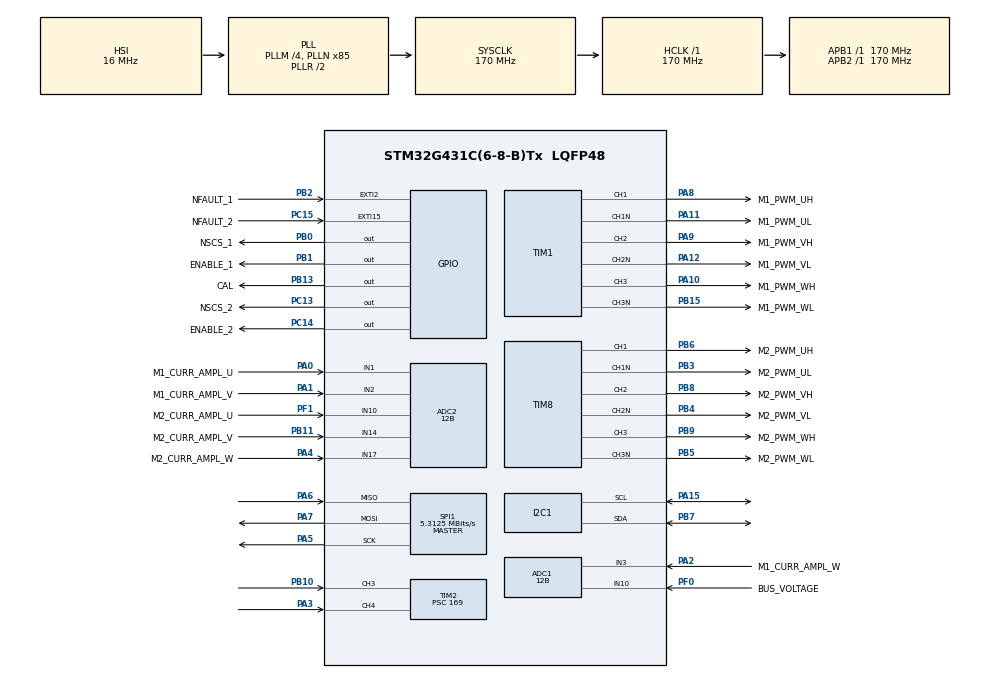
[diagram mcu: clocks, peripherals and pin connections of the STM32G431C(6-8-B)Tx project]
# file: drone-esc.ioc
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ADC1.Channel-1\#ChannelRegularConversion=ADC_CHANNEL_10
ADC1.ClockPrescaler=ADC_CLOCK_ASYNC_DIV1
ADC1.ContinuousConvMode=DISABLE
ADC1.DMAContinuousRequests=DISABLE
ADC1.DataAlign=ADC_DATAALIGN_LEFT
ADC1.DiscontinuousConvMode=DISABLE
ADC1.EOCSelection=ADC_EOC_SINGLE_CONV
ADC1.EnableAnalogWatchDog1=false
ADC1.EnableAnalogWatchDog2=false
ADC1.EnableAnalogWatchDog3=false
ADC1.EnableInjectedConversion=ENABLE
ADC1.EnableRegularConversion=ENABLE
ADC1.ExternalTrigConv=ADC_SOFTWARE_START
ADC1.ExternalTrigConvEdge=ADC_EXTERNALTRIGCONVEDGE_NONE
ADC1.ExternalTrigInjecConv=ADC_EXTERNALTRIGINJEC_T1_TRGO
ADC1.ExternalTrigInjecConvEdge=ADC_EXTERNALTRIGINJECCONV_EDGE_RISING
ADC1.InjNumberOfConversion=2
ADC1.InjectedChannel-1\#ChannelInjectedConversion=ADC_CHANNEL_2
ADC1.InjectedChannel-2\#ChannelInjectedConversion=ADC_CHANNEL_3
ADC1.InjectedConvMode=None
ADC1.InjectedOffset-1\#ChannelInjectedConversion=0
ADC1.InjectedOffset-2\#ChannelInjectedConversion=0
ADC1.InjectedOffsetNumber-1\#ChannelInjectedConversion=ADC_OFFSET_NONE
ADC1.InjectedOffsetNumber-2\#ChannelInjectedConversion=ADC_OFFSET_NONE
ADC1.InjectedRank-1\#ChannelInjectedConversion=1
ADC1.InjectedRank-2\#ChannelInjectedConversion=2
ADC1.InjectedSamplingTime-1\#ChannelInjectedConversion=ADC_SAMPLETIME_6CYCLES_5
ADC1.InjectedSamplingTime-2\#ChannelInjectedConversion=ADC_SAMPLETIME_6CYCLES_5
ADC1.LowPowerAutoWait=DISABLE
ADC1.NbrOfConversion=1
ADC1.NbrOfConversionFlag=1
ADC1.Offset-1\#ChannelRegularConversion=0
ADC1.OffsetNumber-1\#ChannelRegularConversion=ADC_OFFSET_NONE
ADC1.Overrun=ADC_OVR_DATA_PRESERVED
ADC1.Rank-1\#ChannelRegularConversion=1
ADC1.Resolution=ADC_RESOLUTION_12B
ADC1.SamplingTime-1\#ChannelRegularConversion=ADC_SAMPLETIME_47CYCLES_5
ADC1.ScanConvMode=ADC_SCAN_ENABLE
ADC1.master=1
ADC2.ClockPrescaler=ADC_CLOCK_ASYNC_DIV1
ADC2.ContinuousConvMode=DISABLE
ADC2.DMAContinuousRequests=DISABLE
ADC2.DataAlign=ADC_DATAALIGN_LEFT
ADC2.DiscontinuousConvMode=DISABLE
ADC2.EOCSelection=ADC_EOC_SINGLE_CONV
ADC2.EnableAnalogWatchDog1=false
ADC2.EnableAnalogWatchDog2=false
ADC2.EnableAnalogWatchDog3=false
ADC2.EnableInjectedConversion=ENABLE
ADC2.EnableRegularConversion=DISABLE
ADC2.ExternalTrigInjecConv=ADC_EXTERNALTRIGINJEC_T8_TRGO
ADC2.ExternalTrigInjecConvEdge=ADC_EXTERNALTRIGINJECCONV_EDGE_RISING
ADC2.InjNumberOfConversion=3
ADC2.InjectedChannel-1\#ChannelInjectedConversion=ADC_CHANNEL_10
ADC2.InjectedChannel-2\#ChannelInjectedConversion=ADC_CHANNEL_14
ADC2.InjectedChannel-3\#ChannelInjectedConversion=ADC_CHANNEL_17
ADC2.InjectedConvMode=None
ADC2.InjectedOffset-1\#ChannelInjectedConversion=0
ADC2.InjectedOffset-2\#ChannelInjectedConversion=0
ADC2.InjectedOffset-3\#ChannelInjectedConversion=0
ADC2.InjectedOffsetNumber-1\#ChannelInjectedConversion=ADC_OFFSET_NONE
ADC2.InjectedOffsetNumber-2\#ChannelInjectedConversion=ADC_OFFSET_NONE
ADC2.InjectedOffsetNumber-3\#ChannelInjectedConversion=ADC_OFFSET_NONE
ADC2.InjectedRank-1\#ChannelInjectedConversion=1
ADC2.InjectedRank-2\#ChannelInjectedConversion=2
ADC2.InjectedRank-3\#ChannelInjectedConversion=3
ADC2.InjectedSamplingTime-1\#ChannelInjectedConversion=ADC_SAMPLETIME_6CYCLES_5
ADC2.InjectedSamplingTime-2\#ChannelInjectedConversion=ADC_SAMPLETIME_6CYCLES_5
ADC2.InjectedSamplingTime-3\#ChannelInjectedConversion=ADC_SAMPLETIME_6CYCLES_5
ADC2.LowPowerAutoWait=DISABLE
ADC2.Overrun=ADC_OVR_DATA_PRESERVED
ADC2.Resolution=ADC_RESOLUTION_12B
ADC2.ScanConvMode=ADC_SCAN_ENABLE
ADC2.master=1
ExtraMW=MotorControl
ExtraMW.MotorControl.Config=MotorControl
ExtraMW.MotorControl.Mode=MotorControl
ExtraMW.MotorControl.Root=MCSDK_v6.4.2-Full/MotorControl
ExtraMW.MotorControl.Template=templates
I2C1.Timing=0x40B285C2
Mcu.Family=STM32G4
Mcu.Name=STM32G431C(6-8-B)Tx
Mcu.Package=LQFP48
Mcu.UserConstants=M1_BUS_VOLTAGE_GPIO_Port,BUS_VOLTAGE_GPIO_Port;M1_BUS_VOLTAGE_Pin,BUS_VOLTAGE_Pin;M2_BUS_VOLTAGE_GPIO_Port,BUS_VOLTAGE_GPIO_Port;M2_BUS_VOLTAGE_Pin,BUS_VOLTAGE_Pin
MotorControl.ADC_1_PERIPH=ADC2
MotorControl.ADC_2_PERIPH=ADC1
MotorControl.ADC_AHBPERIPH=RCC_AHBPeriph_ADC21
MotorControl.ADC_AHBPERIPH2=RCC_AHBPeriph_ADC2
MotorControl.ADC_CLOCK_WB_DIV=1
MotorControl.ADC_CLOCK_WB_DIV2=1
MotorControl.ADC_PERIPH=ADC2
MotorControl.ADC_PERIPH2=ADC2
MotorControl.ADC_REFERENCE_VOLTAGE=3.3
MotorControl.BOARD=drone-esc-1
MotorControl.BUS_VOLTAGE_READING=true
MotorControl.BUS_VOLTAGE_READING2=true
MotorControl.CCMRAM_ENABLED=false
MotorControl.CLOCK_FREQUENCY=CPU_CLK_170_MHZ
MotorControl.CLOCK_SOURCE=INTERNAL
MotorControl.CPU_CLK_170_MHZ=true
MotorControl.CTLBOARD_NAME=drone-esc-1
MotorControl.CUBE_MX_VER=6.18.1
MotorControl.CURRENT_READING_TOPOLOGY=THREE_SHUNT_INDEPENDENT_RESOURCES
MotorControl.CURRENT_READING_TOPOLOGY2=THREE_SHUNT
MotorControl.CURR_SAMPLING_TIME=6
MotorControl.CURR_SAMPLING_TIME2=6
MotorControl.DBG_MCU_LOAD_MEASURE=false
MotorControl.DEBUG_DAC_FUNCTIONALITY_EN=false
MotorControl.DRIVES_NUMBER_SELECTION=DUALDRIVE
MotorControl.DRIVE_NUMBER=2
MotorControl.DRIVE_TYPE=FOC
MotorControl.ENCODER_AVAILABLE=false
MotorControl.ENCODER_AVAILABLE2=false
MotorControl.ENCODER_PPR=400
MotorControl.ENCODER_PPR2=400
MotorControl.EXT_CLOCK_FREQUENCY=INT_RC_OSC
MotorControl.FEEDBACK_NET_FILTERING=false
MotorControl.FEEDBACK_NET_FILTERING2=false
MotorControl.FLASH_SIZE=128
MotorControl.HALL_SENSORS_AVAILABLE=false
MotorControl.HALL_SENSORS_AVAILABLE2=false
MotorControl.HIGH_SIDE_IDLE_STATE=false
MotorControl.HIGH_SIDE_IDLE_STATE2=false
MotorControl.HWV_CS=ThreeShunt_AmplifiedCurrents
MotorControl.HWV_CS2=ThreeShunt_AmplifiedCurrents
MotorControl.HWV_PWM=DrivingHighAndLowSides
MotorControl.HWV_PWM2=DrivingHighAndLowSides
MotorControl.HW_COMPLEMENTED_LOW_SIDE=false
MotorControl.HW_COMPLEMENTED_LOW_SIDE2=false
MotorControl.HW_DEAD_TIME_NS=200
MotorControl.HW_DEAD_TIME_NS2=200
MotorControl.INT_RC_OSC=true
MotorControl.IPs=CORDIC,NVIC,RCC,SYS,MotorControl,TIM1,ADC2,ADC1,TIM8
MotorControl.LOW_MEMORY_FOOTPRINT_REG=false
MotorControl.LOW_SIDE_IDLE_STATE=false
MotorControl.LOW_SIDE_IDLE_STATE2=false
MotorControl.LOW_SIDE_SIGNALS_ENABLING=LS_PWM_TIMER
MotorControl.LOW_SIDE_SIGNALS_ENABLING2=LS_PWM_TIMER
MotorControl.M1_AMPLIFICATION_GAIN=20
MotorControl.M1_ANGC={0,0,0,0,0,0,0,0}
MotorControl.M1_AUXILIARY_SPEED_SENSOR=NONE
MotorControl.M1_BOARD_MAX_CURRENT=20
MotorControl.M1_BUS_VOLTAGE_READING=true
MotorControl.M1_COMMUTATION_STEP_TIME_BUF_SIZE=12
MotorControl.M1_CONSTANT1_D=141290
MotorControl.M1_CONSTANT1_Q=141290
MotorControl.M1_CONSTANT2_QD=3974
MotorControl.M1_CORD_BEMF_CONSISTENCY_GAIN=64
MotorControl.M1_CORD_BEMF_CONSISTENCY_TOL=64
MotorControl.M1_CORD_F1=16384
MotorControl.M1_CORD_F2=8192
MotorControl.M1_CORD_FIFO_DEPTH_01HZ=64
MotorControl.M1_CORD_FIFO_DEPTH_DPP=64
MotorControl.M1_CORD_GAIN1=-22869
MotorControl.M1_CORD_GAIN2=17898
MotorControl.M1_CORD_MAX_ACCEL_DPPP=28
MotorControl.M1_CORD_VARIANCE_THRESHOLD=25
MotorControl.M1_CS_ADC_NUM=2
MotorControl.M1_CS_ADC_PHASE_SHARED=V
MotorControl.M1_CS_ADC_U=ADC2
MotorControl.M1_CS_ADC_W=ADC1
MotorControl.M1_CS_CHANNEL_SHARED=2
MotorControl.M1_CS_CHANNEL_U=1
MotorControl.M1_CS_CHANNEL_V=2
MotorControl.M1_CS_CHANNEL_W=3
MotorControl.M1_CURRENT_AMPLIFICATION_TOPO=EXTERNAL
MotorControl.M1_CURRENT_SENSING_TOPO=THREE_SHUNT
MotorControl.M1_CURR_SAMPLING_TIME=6
MotorControl.M1_DBG_OPEN_LOOP_ENABLE=false
MotorControl.M1_DC_CURRENT_RS_MEAS=20
MotorControl.M1_DEFAULT_CONTROL_MODE=STC_SPEED_MODE
MotorControl.M1_DEFAULT_FLUX_COMPONENT=0
MotorControl.M1_DEFAULT_TARGET_SPEED_RPM=5400
MotorControl.M1_DEFAULT_TORQUE_COMPONENT=0
MotorControl.M1_DISCONTINUOUS_PWM=false
MotorControl.M1_DP_TOPOLOGY=NONE
MotorControl.M1_DRIVE_TYPE=FOC
MotorControl.M1_ENABLE_SL_ALGO_FROM_PHASE=2
MotorControl.M1_ENCODER_PPR=400
MotorControl.M1_FEED_FORWARD_CURRENT_REG_ENABLING=false
MotorControl.M1_FLUX_WEAKENING_ENABLING=false
MotorControl.M1_FW_KIDIV=32768
MotorControl.M1_FW_KI_GAIN=5000
MotorControl.M1_FW_KPDIV=32768
MotorControl.M1_FW_KP_GAIN=3000
MotorControl.M1_FW_VOLTAGE_REF=985
MotorControl.M1_HALL_PHASE_SHIFT=300
MotorControl.M1_HALL_SENSORS_PLACEMENT=DEGREES_120
MotorControl.M1_HIGH_SIDE_IDLE_STATE=false
MotorControl.M1_HW_DEAD_TIME_NS=200
MotorControl.M1_ICL_ENABLED=false
MotorControl.M1_ID_DEMAG=-20
MotorControl.M1_IQMAX=20
MotorControl.M1_LDLQ_RATIO=1.000
MotorControl.M1_LOW_SIDE_IDLE_STATE=false
MotorControl.M1_LOW_SIDE_SIGNALS_ENABLING=LS_PWM_TIMER
MotorControl.M1_LS=0.000012
MotorControl.M1_MAX_APPLICATION_SPEED=40000
MotorControl.M1_MAX_MODULATION_INDEX=91
MotorControl.M1_MIN_APPLICATION_SPEED=0
MotorControl.M1_MOTOR_MAX_SPEED_RPM=40000
MotorControl.M1_MOTOR_NAME=FlyfishRC Flash 1804 350
MotorControl.M1_MOTOR_RATED_FLUX=0.001399708
MotorControl.M1_MOTOR_VOLTAGE_CONSTANT=0.2
MotorControl.M1_MTPA_ENABLING=false
MotorControl.M1_NB_CONSECUTIVE_TESTS=2
MotorControl.M1_NOMINAL_BUS_VOLTAGE_V=11
MotorControl.M1_NOMINAL_CURRENT=20
MotorControl.M1_OBS_MINIMUM_SPEED_RPM=5400
MotorControl.M1_OCP_TOPOLOGY=NONE
MotorControl.M1_OFST={0,0,0,0,0,0,0,0}
MotorControl.M1_ON_OVER_VOLTAGE=TURN_OFF_PWM
MotorControl.M1_OVERMODULATION=false
MotorControl.M1_OVP_THRESHOLD_HIGH=15.5
MotorControl.M1_OV_VOLTAGE_PROT_ENABLING=true
MotorControl.M1_OV_VOLTAGE_THRESHOLD_V=15.5
MotorControl.M1_PHASE1_DURATION=1000
MotorControl.M1_PHASE1_FINAL_CURRENT=20
MotorControl.M1_PHASE1_FINAL_SPEED_RPM=0
MotorControl.M1_PHASE2_DURATION=12000
MotorControl.M1_PHASE2_FINAL_CURRENT=20
MotorControl.M1_PHASE2_FINAL_SPEED_RPM=6000
MotorControl.M1_PHASE3_DURATION=0
MotorControl.M1_PHASE3_FINAL_CURRENT=20
MotorControl.M1_PHASE3_FINAL_SPEED_RPM=6000
MotorControl.M1_PHASE4_DURATION=0
MotorControl.M1_PHASE4_FINAL_CURRENT=20
MotorControl.M1_PHASE4_FINAL_SPEED_RPM=6000
MotorControl.M1_PHASE5_DURATION=0
MotorControl.M1_PHASE5_FINAL_CURRENT=20
MotorControl.M1_PHASE5_FINAL_SPEED_RPM=6000
MotorControl.M1_PID_FLUX_KD_DEFAULT=100
MotorControl.M1_PID_FLUX_KI_DEFAULT=2435
MotorControl.M1_PID_FLUX_KP_DEFAULT=2192
MotorControl.M1_PID_SPEED_KD_DEFAULT=0
MotorControl.M1_PID_SPEED_KI_DEFAULT=18
MotorControl.M1_PID_SPEED_KP_DEFAULT=2294
MotorControl.M1_PID_TORQUE_KD_DEFAULT=100
MotorControl.M1_PID_TORQUE_KI_DEFAULT=2435
MotorControl.M1_PID_TORQUE_KP_DEFAULT=2192
MotorControl.M1_POLE_PAIR_NUM=7
MotorControl.M1_POSITION_CTRL_ENABLING=false
MotorControl.M1_POTENTIOMETER_ENABLE=false
MotorControl.M1_POWERBOARD_NAME=drone-esc-1
MotorControl.M1_PWM_CHARGE_BOOT_CAP_DUTY_CYCLES=0.000
MotorControl.M1_PWM_CHARGE_BOOT_CAP_MS=10
MotorControl.M1_PWM_DRIVER_PN=DRV8323SRTAR
MotorControl.M1_PWM_FREQUENCY=30000
MotorControl.M1_PWM_TIMER_BRK_IRQ=TIM1_BRK_TIM15
MotorControl.M1_PWM_TIMER_SELECTION=PWM_TIM1
MotorControl.M1_PWM_TIMER_UP_IRQ=TIM1_UP_TIM16
MotorControl.M1_REGULATION_EXECUTION_RATE=1
MotorControl.M1_RS=0.05
MotorControl.M1_RSHUNT=0.001
MotorControl.M1_SEGDIV=0
MotorControl.M1_SHARED_SIGNAL_ENABLE=false
MotorControl.M1_SPD_DIFFERENTIAL_TERM_ENABLING=false
MotorControl.M1_SPEED_BAND_LOWER_LIMIT=15
MotorControl.M1_SPEED_BAND_UPPER_LIMIT=17
MotorControl.M1_SPEED_FEEDBACK_CHECK=true
MotorControl.M1_SPEED_LOOP_FREQUENCY_HZ=1000
MotorControl.M1_SPEED_SENSOR=STO_CORDIC
MotorControl.M1_SP_KDDIV=16
MotorControl.M1_SP_KIDIV=16384
MotorControl.M1_SP_KPDIV=1024
MotorControl.M1_SS_MEAS_ERRORS_BEFORE_FAULTS=3
MotorControl.M1_STARTING_ANGLE_DEG=0
MotorControl.M1_SW_DEADTIME_NS=150
MotorControl.M1_TEMPERATURE_READING=false
MotorControl.M1_TF_KDDIV=8192
MotorControl.M1_TF_KIDIV=16384
MotorControl.M1_TF_KPDIV=2048
MotorControl.M1_TNOISE_NS=1000
MotorControl.M1_TRANSITION_DURATION=25
MotorControl.M1_TRISE_NS=2000
MotorControl.M1_UD_VOLTAGE_THRESHOLD_V=8.0
MotorControl.M1_USE_INTERNAL_OPAMP=false
MotorControl.M1_UV_VOLTAGE_PROT_ENABLING=true
MotorControl.M1_VBUS_ADC=ADC1
MotorControl.M1_VBUS_ADC_SAMPLING_TIME=47
MotorControl.M1_VBUS_CHANNEL=ADC_CHANNEL_10
MotorControl.M1_VBUS_PARTITIONING_FACTOR=0.1524999999809375
MotorControl.M2_AMPLIFICATION_GAIN=20
MotorControl.M2_ANGC={0,0,0,0,0,0,0,0}
MotorControl.M2_AUXILIARY_SPEED_SENSOR=NONE
MotorControl.M2_BOARD_MAX_CURRENT=20
MotorControl.M2_BUS_VOLTAGE_READING=true
MotorControl.M2_COMMUTATION_STEP_TIME_BUF_SIZE=12
MotorControl.M2_CONSTANT1_D=141290
MotorControl.M2_CONSTANT1_Q=141290
MotorControl.M2_CONSTANT2_QD=3974
MotorControl.M2_CORD_BEMF_CONSISTENCY_GAIN=64
MotorControl.M2_CORD_BEMF_CONSISTENCY_TOL=64
MotorControl.M2_CORD_F1=16384
MotorControl.M2_CORD_F2=8192
MotorControl.M2_CORD_FIFO_DEPTH_01HZ=64
MotorControl.M2_CORD_FIFO_DEPTH_DPP=64
MotorControl.M2_CORD_GAIN1=-22869
MotorControl.M2_CORD_GAIN2=17898
MotorControl.M2_CORD_MAX_ACCEL_DPPP=28
MotorControl.M2_CORD_VARIANCE_THRESHOLD=25
MotorControl.M2_CS_ADC_NUM=1
MotorControl.M2_CS_ADC_PHASE_SHARED=NONE
MotorControl.M2_CS_ADC_U=ADC2
MotorControl.M2_CS_ADC_V=ADC2
MotorControl.M2_CS_ADC_W=ADC2
MotorControl.M2_CS_CHANNEL_U=10
MotorControl.M2_CS_CHANNEL_V=14
MotorControl.M2_CS_CHANNEL_W=17
MotorControl.M2_CURRENT_AMPLIFICATION_TOPO=EXTERNAL
MotorControl.M2_CURRENT_SENSING_TOPO=THREE_SHUNT
MotorControl.M2_CURR_SAMPLING_TIME=6
MotorControl.M2_DBG_OPEN_LOOP_ENABLE=false
MotorControl.M2_DC_CURRENT_RS_MEAS=20
MotorControl.M2_DEFAULT_CONTROL_MODE=STC_SPEED_MODE
MotorControl.M2_DEFAULT_FLUX_COMPONENT=0
MotorControl.M2_DEFAULT_TARGET_SPEED_RPM=5400
MotorControl.M2_DEFAULT_TORQUE_COMPONENT=0
MotorControl.M2_DISCONTINUOUS_PWM=false
MotorControl.M2_DP_TOPOLOGY=NONE
MotorControl.M2_DRIVE_TYPE=FOC
MotorControl.M2_ENABLE_SL_ALGO_FROM_PHASE=2
MotorControl.M2_ENCODER_PPR=400
MotorControl.M2_FEED_FORWARD_CURRENT_REG_ENABLING=false
MotorControl.M2_FLUX_WEAKENING_ENABLING=false
MotorControl.M2_FW_KIDIV=32768
MotorControl.M2_FW_KI_GAIN=5000
MotorControl.M2_FW_KPDIV=32768
MotorControl.M2_FW_KP_GAIN=3000
MotorControl.M2_FW_VOLTAGE_REF=985
MotorControl.M2_HALL_PHASE_SHIFT=300
MotorControl.M2_HALL_SENSORS_PLACEMENT=DEGREES_120
MotorControl.M2_HIGH_SIDE_IDLE_STATE=false
MotorControl.M2_HW_DEAD_TIME_NS=200
MotorControl.M2_ICL_ENABLED=false
MotorControl.M2_ID_DEMAG=-20
MotorControl.M2_IQMAX=20
MotorControl.M2_LDLQ_RATIO=1.000
MotorControl.M2_LOW_SIDE_IDLE_STATE=false
MotorControl.M2_LOW_SIDE_SIGNALS_ENABLING=LS_PWM_TIMER
MotorControl.M2_LS=0.000012
MotorControl.M2_MAX_APPLICATION_SPEED=40000
MotorControl.M2_MAX_MODULATION_INDEX=87
MotorControl.M2_MIN_APPLICATION_SPEED=0
MotorControl.M2_MOTOR_MAX_SPEED_RPM=40000
MotorControl.M2_MOTOR_NAME=FlyfishRC Flash 1804 350
MotorControl.M2_MOTOR_RATED_FLUX=0.001399708
MotorControl.M2_MOTOR_VOLTAGE_CONSTANT=0.2
MotorControl.M2_MTPA_ENABLING=false
MotorControl.M2_NB_CONSECUTIVE_TESTS=2
MotorControl.M2_NOMINAL_BUS_VOLTAGE_V=11
MotorControl.M2_NOMINAL_CURRENT=20
MotorControl.M2_OBS_MINIMUM_SPEED_RPM=5400
MotorControl.M2_OCP_TOPOLOGY=NONE
MotorControl.M2_OFST={0,0,0,0,0,0,0,0}
MotorControl.M2_ON_OVER_VOLTAGE=TURN_OFF_PWM
MotorControl.M2_OVERMODULATION=false
MotorControl.M2_OVP_THRESHOLD_HIGH=15.5
MotorControl.M2_OV_VOLTAGE_PROT_ENABLING=true
MotorControl.M2_OV_VOLTAGE_THRESHOLD_V=15.5
MotorControl.M2_PHASE1_DURATION=1000
MotorControl.M2_PHASE1_FINAL_CURRENT=20
MotorControl.M2_PHASE1_FINAL_SPEED_RPM=0
MotorControl.M2_PHASE2_DURATION=12000
MotorControl.M2_PHASE2_FINAL_CURRENT=20
MotorControl.M2_PHASE2_FINAL_SPEED_RPM=6000
MotorControl.M2_PHASE3_DURATION=0
MotorControl.M2_PHASE3_FINAL_CURRENT=20
MotorControl.M2_PHASE3_FINAL_SPEED_RPM=6000
MotorControl.M2_PHASE4_DURATION=0
MotorControl.M2_PHASE4_FINAL_CURRENT=20
MotorControl.M2_PHASE4_FINAL_SPEED_RPM=6000
MotorControl.M2_PHASE5_DURATION=0
MotorControl.M2_PHASE5_FINAL_CURRENT=20
MotorControl.M2_PHASE5_FINAL_SPEED_RPM=6000
MotorControl.M2_PID_FLUX_KD_DEFAULT=100
MotorControl.M2_PID_FLUX_KI_DEFAULT=2435
MotorControl.M2_PID_FLUX_KP_DEFAULT=2192
MotorControl.M2_PID_SPEED_KD_DEFAULT=0
MotorControl.M2_PID_SPEED_KI_DEFAULT=18
MotorControl.M2_PID_SPEED_KP_DEFAULT=2294
MotorControl.M2_PID_TORQUE_KD_DEFAULT=100
MotorControl.M2_PID_TORQUE_KI_DEFAULT=2435
MotorControl.M2_PID_TORQUE_KP_DEFAULT=2192
MotorControl.M2_POLE_PAIR_NUM=7
MotorControl.M2_POSITION_CTRL_ENABLING=false
MotorControl.M2_POTENTIOMETER_ENABLE=false
MotorControl.M2_POWERBOARD_NAME=drone-esc-1
MotorControl.M2_PWM_CHARGE_BOOT_CAP_DUTY_CYCLES=0.000
MotorControl.M2_PWM_CHARGE_BOOT_CAP_MS=10
MotorControl.M2_PWM_DRIVER_PN=DRV8323SRTAR
MotorControl.M2_PWM_FREQUENCY=30000
MotorControl.M2_PWM_TIMER_BRK_IRQ=TIM8_BRK
MotorControl.M2_PWM_TIMER_SELECTION=PWM_TIM8
MotorControl.M2_PWM_TIMER_UP_IRQ=TIM8_UP
MotorControl.M2_REGULATION_EXECUTION_RATE=1
MotorControl.M2_RS=0.05
MotorControl.M2_RSHUNT=0.001
MotorControl.M2_SEGDIV=0
MotorControl.M2_SHARED_SIGNAL_ENABLE=false
MotorControl.M2_SPD_DIFFERENTIAL_TERM_ENABLING=false
MotorControl.M2_SPEED_BAND_LOWER_LIMIT=15
MotorControl.M2_SPEED_BAND_UPPER_LIMIT=17
MotorControl.M2_SPEED_FEEDBACK_CHECK=true
MotorControl.M2_SPEED_LOOP_FREQUENCY_HZ=1000
MotorControl.M2_SPEED_SENSOR=STO_CORDIC
MotorControl.M2_SP_KDDIV=16
MotorControl.M2_SP_KIDIV=16384
MotorControl.M2_SP_KPDIV=1024
MotorControl.M2_SS_MEAS_ERRORS_BEFORE_FAULTS=3
MotorControl.M2_STARTING_ANGLE_DEG=0
MotorControl.M2_SW_DEADTIME_NS=150
MotorControl.M2_TEMPERATURE_READING=false
MotorControl.M2_TF_KDDIV=8192
MotorControl.M2_TF_KIDIV=16384
MotorControl.M2_TF_KPDIV=2048
MotorControl.M2_TNOISE_NS=1000
MotorControl.M2_TRANSITION_DURATION=25
MotorControl.M2_TRISE_NS=2000
MotorControl.M2_UD_VOLTAGE_THRESHOLD_V=8.0
MotorControl.M2_USE_INTERNAL_OPAMP=false
MotorControl.M2_UV_VOLTAGE_PROT_ENABLING=true
MotorControl.M2_VBUS_ADC=ADC1
MotorControl.M2_VBUS_ADC_SAMPLING_TIME=47
MotorControl.M2_VBUS_CHANNEL=ADC_CHANNEL_10
MotorControl.M2_VBUS_PARTITIONING_FACTOR=0.1524999999809375
MotorControl.MAX_READABLE_CURRENT=82.5
MotorControl.MAX_READABLE_CURRENT2=82.5
MotorControl.MCP_EN=false
MotorControl.MCU=STM32G431CB
MotorControl.MCU_FAMILY=STM32G4
MotorControl.MCU_LINE=STM32G4x1
MotorControl.MCU_NAME=STM32G431C(6-8-B)Tx
MotorControl.MCU_PACKAGE=LQFP48
MotorControl.MCU_TYPE=STM32G431CB
MotorControl.MCU_USERNAME=STM32G431CBTx
MotorControl.MC_WORKBENCH_VERSION=6.4.2
MotorControl.MOTOR_PROFILER=false
MotorControl.MOTOR_TYPE=PMSM
MotorControl.MOTOR_TYPE2=PMSM
MotorControl.ON_OVER_VOLTAGE=TURN_OFF_PWM
MotorControl.ON_OVER_VOLTAGE2=TURN_OFF_PWM
MotorControl.OV_VOLTAGE_PROT_ENABLING=true
MotorControl.OV_VOLTAGE_PROT_ENABLING2=true
MotorControl.PHASE_UH_GPIO_PIN=LL_GPIO_PIN_8
MotorControl.PHASE_UH_GPIO_PIN2=LL_GPIO_PIN_6
MotorControl.PHASE_UH_GPIO_PORT=GPIOA
MotorControl.PHASE_UH_GPIO_PORT2=GPIOB
MotorControl.PHASE_UH_POLARITY=H_ACTIVE_HIGH
MotorControl.PHASE_UH_POLARITY2=H_ACTIVE_HIGH
MotorControl.PHASE_UL_GPIO_PIN=LL_GPIO_PIN_11
MotorControl.PHASE_UL_GPIO_PIN2=LL_GPIO_PIN_3
MotorControl.PHASE_UL_GPIO_PORT=GPIOA
MotorControl.PHASE_UL_GPIO_PORT2=GPIOB
MotorControl.PHASE_UL_POLARITY=L_ACTIVE_HIGH
MotorControl.PHASE_UL_POLARITY2=L_ACTIVE_HIGH
MotorControl.PHASE_U_CURR_ADC=ADC2
MotorControl.PHASE_U_CURR_ADC2=ADC2
MotorControl.PHASE_U_CURR_CHANNEL=ADC_CHANNEL_1
MotorControl.PHASE_U_CURR_CHANNEL2=ADC_CHANNEL_10
MotorControl.PHASE_U_GPIO_PIN=LL_GPIO_PIN_0
MotorControl.PHASE_U_GPIO_PIN2=LL_GPIO_PIN_1
MotorControl.PHASE_U_GPIO_PORT=GPIOA
MotorControl.PHASE_U_GPIO_PORT2=GPIOF
MotorControl.PHASE_U_PWM_CHANNEL=TIM_Channel_1
MotorControl.PHASE_U_PWM_CHANNEL2=TIM_Channel_1
MotorControl.PHASE_VH_GPIO_PIN=LL_GPIO_PIN_9
MotorControl.PHASE_VH_GPIO_PIN2=LL_GPIO_PIN_8
MotorControl.PHASE_VH_GPIO_PORT=GPIOA
MotorControl.PHASE_VH_GPIO_PORT2=GPIOB
MotorControl.PHASE_VH_POLARITY=H_ACTIVE_HIGH
MotorControl.PHASE_VH_POLARITY2=H_ACTIVE_HIGH
MotorControl.PHASE_VL_GPIO_PIN=LL_GPIO_PIN_12
MotorControl.PHASE_VL_GPIO_PIN2=LL_GPIO_PIN_4
MotorControl.PHASE_VL_GPIO_PORT=GPIOA
MotorControl.PHASE_VL_GPIO_PORT2=GPIOB
MotorControl.PHASE_VL_POLARITY=L_ACTIVE_HIGH
MotorControl.PHASE_VL_POLARITY2=L_ACTIVE_HIGH
MotorControl.PHASE_V_CURR_ADC=ADC2
MotorControl.PHASE_V_CURR_ADC2=ADC2
MotorControl.PHASE_V_CURR_CHANNEL=ADC_CHANNEL_2
MotorControl.PHASE_V_CURR_CHANNEL2=ADC_CHANNEL_14
MotorControl.PHASE_V_GPIO_PIN=LL_GPIO_PIN_1
MotorControl.PHASE_V_GPIO_PIN2=LL_GPIO_PIN_11
MotorControl.PHASE_V_GPIO_PORT=GPIOA
MotorControl.PHASE_V_GPIO_PORT2=GPIOB
MotorControl.PHASE_V_PWM_CHANNEL=TIM_Channel_2
MotorControl.PHASE_V_PWM_CHANNEL2=TIM_Channel_2
MotorControl.PHASE_V_S_CURR_ADC=ADC1
MotorControl.PHASE_V_S_CURR_CHANNEL=ADC_CHANNEL_2
MotorControl.PHASE_V_S_GPIO_PIN=LL_GPIO_PIN_1
MotorControl.PHASE_V_S_GPIO_PORT=GPIOA
MotorControl.PHASE_WH_GPIO_PIN=LL_GPIO_PIN_10
MotorControl.PHASE_WH_GPIO_PIN2=LL_GPIO_PIN_9
MotorControl.PHASE_WH_GPIO_PORT=GPIOA
MotorControl.PHASE_WH_GPIO_PORT2=GPIOB
MotorControl.PHASE_WH_POLARITY=H_ACTIVE_HIGH
MotorControl.PHASE_WH_POLARITY2=H_ACTIVE_HIGH
MotorControl.PHASE_WL_GPIO_PIN=LL_GPIO_PIN_15
MotorControl.PHASE_WL_GPIO_PIN2=LL_GPIO_PIN_5
MotorControl.PHASE_WL_GPIO_PORT=GPIOB
MotorControl.PHASE_WL_GPIO_PORT2=GPIOB
MotorControl.PHASE_WL_POLARITY=L_ACTIVE_HIGH
MotorControl.PHASE_WL_POLARITY2=L_ACTIVE_HIGH
MotorControl.PHASE_W_CURR_ADC=ADC1
MotorControl.PHASE_W_CURR_ADC2=ADC2
MotorControl.PHASE_W_CURR_CHANNEL=ADC_CHANNEL_3
MotorControl.PHASE_W_CURR_CHANNEL2=ADC_CHANNEL_17
MotorControl.PHASE_W_GPIO_PIN=LL_GPIO_PIN_2
MotorControl.PHASE_W_GPIO_PIN2=LL_GPIO_PIN_4
MotorControl.PHASE_W_GPIO_PORT=GPIOA
MotorControl.PHASE_W_GPIO_PORT2=GPIOA
MotorControl.PHASE_W_PWM_CHANNEL=TIM_Channel_3
MotorControl.PHASE_W_PWM_CHANNEL2=TIM_Channel_3
MotorControl.POTENTIOMETER_READING=false
MotorControl.POTENTIOMETER_READING2=false
MotorControl.PWM_FREQUENCY=30000
MotorControl.PWM_FREQUENCY2=30000
MotorControl.PWM_TIMER_SELECTION=PWM_TIM1
MotorControl.PWM_TIMER_SELECTION2=PWM_TIM8
MotorControl.REGULATION_EXECUTION_RATE=1
MotorControl.REGULATION_EXECUTION_RATE2=1
MotorControl.RTOS=NONE
MotorControl.R_BRAKE_SWITCH_OFF_THRES_V=12
MotorControl.R_BRAKE_SWITCH_OFF_THRES_V2=12
MotorControl.SINGLEDRIVE=false
MotorControl.SPD_DIFFERENTIAL_TERM_ENABLING=false
MotorControl.SPD_DIFFERENTIAL_TERM_ENABLING2=false
MotorControl.SPEED_SENSOR_SELECTION=STATE_OBSERVER_CORDIC
MotorControl.SPEED_SENSOR_SELECTION2=STATE_OBSERVER_CORDIC2
MotorControl.START_STOP_BTN=false
MotorControl.STATE_OBSERVER_CORDIC=true
MotorControl.STATE_OBSERVER_CORDIC2=true
MotorControl.STM32G431CB=true
MotorControl.SW_DEADTIME_NS=150
MotorControl.SW_DEADTIME_NS2=150
MotorControl.TEMPERATURE_READING=false
MotorControl.TEMPERATURE_READING2=false
MotorControl.TFDIFFERENTIAL_TERM_ENABLING=false
MotorControl.TFDIFFERENTIAL_TERM_ENABLING2=false
MotorControl.THREE_SHUNT2=true
MotorControl.THREE_SHUNT_INDEPENDENT_RESOURCES=true
MotorControl.TRISE_NS=2000
MotorControl.TRISE_NS2=2000
MotorControl.USE_3OPAMPS=false
MotorControl.USE_3OPAMPS2=false
MotorControl.USE_INTERNAL_OPAMP=false
MotorControl.USE_INTERNAL_OPAMP2=false
MotorControl.UV_VOLTAGE_PROT_ENABLING=true
MotorControl.UV_VOLTAGE_PROT_ENABLING2=true
MotorControl.VBUS_ADC=ADC1
MotorControl.VBUS_ADC2=ADC1
MotorControl.VBUS_ADC_SAMPLING_TIME=47
MotorControl.VBUS_ADC_SAMPLING_TIME2=47
MotorControl.VBUS_CHANNEL=ADC_CHANNEL_10
MotorControl.VBUS_CHANNEL2=ADC_CHANNEL_10
MotorControl.VBUS_GPIO_PIN=LL_GPIO_PIN_0
MotorControl.VBUS_GPIO_PIN2=LL_GPIO_PIN_0
MotorControl.VBUS_GPIO_PORT=GPIOF
MotorControl.VBUS_GPIO_PORT2=GPIOF
MotorControl.WB_MX_HEAPSIZE=0x200
MotorControl.WB_MX_STACKSIZE=0x400
MotorControl.WB_MX_TRUSTZONE_AVAILABLE=false
MotorControl.WB_UI_CORD_BEMF_QUALITY_FACTOR=0.018
MotorControl.WB_UI_CORD_BEMF_QUALITY_FACTOR2=0.018
MotorControl.WB_UI_CORD_MAX_APPLICATION_ACC=6000
MotorControl.WB_UI_CORD_MAX_APPLICATION_ACC2=6000
MotorControl.WB_UI_CUTOFF_FREQUENCY=6000
MotorControl.WB_UI_CUTOFF_FREQUENCY2=6000
MotorControl.WB_UI_ENCODER_HAS_INDEX_PIN=false
MotorControl.WB_UI_ENCODER_HAS_INDEX_PIN2=false
MotorControl.WB_UI_FLUX_TARGET=0
MotorControl.WB_UI_FLUX_TARGET2=0
MotorControl.WB_UI_FRICTION=0.2
MotorControl.WB_UI_FRICTION2=0.2
MotorControl.WB_UI_INERTIA=0.4
MotorControl.WB_UI_INERTIA2=0.4
MotorControl.WB_UI_MAGNETIC_STRUCTURE=SM-PMSM
MotorControl.WB_UI_MAGNETIC_STRUCTURE2=SM-PMSM
MotorControl.WB_UI_MAX_CURRENT=20
MotorControl.WB_UI_MAX_CURRENT2=20
MotorControl.WB_UI_MAX_NOMINAL_DC_VOLTAGE=16.8
MotorControl.WB_UI_MAX_NOMINAL_DC_VOLTAGE2=16.8
MotorControl.WB_UI_MAX_PWMFREQUENCY=60000
MotorControl.WB_UI_MAX_PWMFREQUENCY2=60000
MotorControl.WB_UI_MOTOR_DESCRIPTION=drone brushless motor
MotorControl.WB_UI_MOTOR_DESCRIPTION2=drone brushless motor
MotorControl.WB_UI_PW_BOARD_MAX_RATED_CURRENT=41
MotorControl.WB_UI_PW_BOARD_MAX_RATED_CURRENT2=41
MotorControl.WB_UI_PW_BOARD_MAX_VOLTAGE=20
MotorControl.WB_UI_PW_BOARD_MAX_VOLTAGE2=20
MotorControl.WB_UI_PW_BOARD_MIN_VOLTAGE=6
MotorControl.WB_UI_PW_BOARD_MIN_VOLTAGE2=6
MotorControl.WB_UI_VPOL=1.65
MotorControl.WB_UI_VPOL2=1.65
MotorControl.WB_to_Mx_template_version=25-05-06
MotorControl.WB_to_Mx_version=6.4.2
NVIC.ADC1_2_IRQn=true\:2\:0\:true\:true\:false\:5\:true\:true\:true
NVIC.EXTI15_10_IRQn=true\:0\:0\:false\:false\:true\:true\:true\:true
NVIC.EXTI2_IRQn=true\:0\:0\:false\:false\:true\:true\:true\:true
NVIC.PriorityGroup=NVIC_PRIORITYGROUP_3
NVIC.TIM1_BRK_TIM15_IRQn=true\:4\:1\:true\:true\:false\:1\:true\:true\:true
NVIC.TIM1_UP_TIM16_IRQn=true\:0\:0\:false\:true\:false\:2\:true\:true\:true
NVIC.TIM2_IRQn=true\:3\:0\:true\:false\:true\:true\:true\:true
NVIC.TIM8_BRK_IRQn=true\:4\:1\:true\:true\:false\:3\:true\:true\:true
NVIC.TIM8_UP_IRQn=true\:0\:0\:false\:true\:false\:4\:true\:true\:true
PA0.GPIO_Label=M1_CURR_AMPL_U
PA0.Mode=IN1-Single-Ended
PA0.Signal=ADC2_IN1
PA1.GPIO_Label=M1_CURR_AMPL_V
PA1.Signal=SharedAnalog_PA1
PA10.GPIO_Label=M1_PWM_WH
PA10.GPIO_PuPd=GPIO_PULLDOWN
PA10.GPIO_Speed=GPIO_SPEED_FREQ_HIGH
PA10.Signal=S_TIM1_CH3
PA11.GPIO_Label=M1_PWM_UL
PA11.GPIO_PuPd=GPIO_PULLDOWN
PA11.GPIO_Speed=GPIO_SPEED_FREQ_HIGH
PA11.Mode=PWM Generation1 CH1 CH1N
PA11.Signal=TIM1_CH1N
PA12.GPIO_Label=M1_PWM_VL
PA12.GPIO_PuPd=GPIO_PULLDOWN
PA12.GPIO_Speed=GPIO_SPEED_FREQ_HIGH
PA12.Mode=PWM Generation2 CH2 CH2N
PA12.Signal=TIM1_CH2N
PA13.Mode=Serial_Wire
PA13.Signal=SYS_JTMS-SWDIO
PA14.Mode=Serial_Wire
PA14.Signal=SYS_JTCK-SWCLK
PA15.Mode=I2C
PA15.Signal=I2C1_SCL
PA2.GPIO_Label=M1_CURR_AMPL_W
PA2.Mode=IN3-Single-Ended
PA2.Signal=ADC1_IN3
PA3.Signal=S_TIM2_CH4
PA4.GPIO_Label=M2_CURR_AMPL_W
PA4.Mode=IN17-Single-Ended
PA4.Signal=ADC2_IN17
PA5.Mode=Full_Duplex_Master
PA5.Signal=SPI1_SCK
PA6.Mode=Full_Duplex_Master
PA6.Signal=SPI1_MISO
PA7.Mode=Full_Duplex_Master
PA7.Signal=SPI1_MOSI
PA8.GPIO_Label=M1_PWM_UH
PA8.GPIO_PuPd=GPIO_PULLDOWN
PA8.GPIO_Speed=GPIO_SPEED_FREQ_HIGH
PA8.Signal=S_TIM1_CH1
PA9.GPIO_Label=M1_PWM_VH
PA9.GPIO_PuPd=GPIO_PULLDOWN
PA9.GPIO_Speed=GPIO_SPEED_FREQ_HIGH
PA9.Signal=S_TIM1_CH2
PB0.GPIO_Label=NSCS_1
PB0.PinState=GPIO_PIN_SET
PB0.Signal=GPIO_Output
PB1.GPIO_Label=ENABLE_1
PB1.PinState=GPIO_PIN_RESET
PB1.Signal=GPIO_Output
PB10.Signal=S_TIM2_CH3
PB11.GPIO_Label=M2_CURR_AMPL_V
PB11.Mode=IN14-Single-Ended
PB11.Signal=ADC2_IN14
PB13.GPIO_Label=CAL
PB13.Signal=GPIO_Output
PB15.GPIO_Label=M1_PWM_WL
PB15.GPIO_PuPd=GPIO_PULLDOWN
PB15.GPIO_Speed=GPIO_SPEED_FREQ_HIGH
PB15.Mode=PWM Generation3 CH3 CH3N
PB15.Signal=TIM1_CH3N
PB2.GPIO_Label=NFAULT_1
PB2.GPIO_ModeDefaultEXTI=GPIO_MODE_IT_FALLING
PB2.Signal=GPXTI2
PB3.GPIO_Label=M2_PWM_UL
PB3.GPIO_PuPd=GPIO_PULLDOWN
PB3.GPIO_Speed=GPIO_SPEED_FREQ_HIGH
PB3.Mode=PWM Generation1 CH1 CH1N
PB3.Signal=TIM8_CH1N
PB4.GPIO_Label=M2_PWM_VL
PB4.GPIO_PuPd=GPIO_PULLDOWN
PB4.GPIO_Speed=GPIO_SPEED_FREQ_HIGH
PB4.Mode=PWM Generation2 CH2 CH2N
PB4.Signal=TIM8_CH2N
PB5.GPIO_Label=M2_PWM_WL
PB5.GPIO_PuPd=GPIO_PULLDOWN
PB5.GPIO_Speed=GPIO_SPEED_FREQ_HIGH
PB5.Mode=PWM Generation3 CH3 CH3N
PB5.Signal=TIM8_CH3N
PB6.GPIO_Label=M2_PWM_UH
PB6.GPIO_PuPd=GPIO_PULLDOWN
PB6.GPIO_Speed=GPIO_SPEED_FREQ_HIGH
PB6.Signal=S_TIM8_CH1
PB7.Mode=I2C
PB7.Signal=I2C1_SDA
PB8-BOOT0.GPIO_Label=M2_PWM_VH
PB8-BOOT0.GPIO_PuPd=GPIO_PULLDOWN
PB8-BOOT0.GPIO_Speed=GPIO_SPEED_FREQ_HIGH
PB8-BOOT0.Signal=S_TIM8_CH2
PB9.GPIO_Label=M2_PWM_WH
PB9.GPIO_PuPd=GPIO_PULLDOWN
PB9.GPIO_Speed=GPIO_SPEED_FREQ_HIGH
PB9.Signal=S_TIM8_CH3
PC13.GPIO_Label=NSCS_2
PC13.PinState=GPIO_PIN_SET
PC13.Signal=GPIO_Output
PC14-OSC32_IN.GPIO_Label=ENABLE_2
PC14-OSC32_IN.PinState=GPIO_PIN_RESET
PC14-OSC32_IN.Signal=GPIO_Output
PC15-OSC32_OUT.GPIO_Label=NFAULT_2
PC15-OSC32_OUT.GPIO_ModeDefaultEXTI=GPIO_MODE_IT_FALLING
PC15-OSC32_OUT.Signal=GPXTI15
PF0-OSC_IN.GPIO_Label=BUS_VOLTAGE
PF0-OSC_IN.Mode=IN10-Single-Ended
PF0-OSC_IN.Signal=ADC1_IN10
PF1-OSC_OUT.GPIO_Label=M2_CURR_AMPL_U
PF1-OSC_OUT.Mode=IN10-Single-Ended
PF1-OSC_OUT.Signal=ADC2_IN10
ProjectManager.HeapSize=0x200
ProjectManager.StackSize=0x400
ProjectManager.TargetToolchain=CMake
RCC.ADC12CLockSelection=RCC_ADC12CLKSOURCE_PLL
RCC.ADC12Freq_Value=42500000
RCC.AHBFreq_Value=170000000
RCC.APB1Freq_Value=170000000
RCC.APB1TimFreq_Value=170000000
RCC.APB2Freq_Value=170000000
RCC.APB2TimFreq_Value=170000000
RCC.CK48CLockSelection=RCC_USBCLKSOURCE_PLL
RCC.CortexFreq_Value=170000000
RCC.EXTERNAL_CLOCK_VALUE=12288000
RCC.HCLKFreq_Value=170000000
RCC.HSE_VALUE=8000000
RCC.HSI48_VALUE=48000000
RCC.HSI_VALUE=16000000
RCC.LSE_VALUE=32768
RCC.PLLM=RCC_PLLM_DIV4
RCC.PLLN=85
RCC.PLLP=RCC_PLLP_DIV8
RCC.PREFETCH_ENABLE=1
RCC.SYSCLKFreq_VALUE=170000000
RCC.SYSCLKSource=RCC_SYSCLKSOURCE_PLLCLK
RCC.USBFreq_Value=170000000
RCC.VCOOutputFreq_Value=340000000
SH.S_TIM1_CH1.0=TIM1_CH1,PWM Generation1 CH1 CH1N
SH.S_TIM1_CH2.0=TIM1_CH2,PWM Generation2 CH2 CH2N
SH.S_TIM1_CH3.0=TIM1_CH3,PWM Generation3 CH3 CH3N
SH.S_TIM2_CH3.0=TIM2_CH3,Input_Capture3_from_TI3
SH.S_TIM2_CH4.0=TIM2_CH4,Input_Capture4_from_TI4
SH.S_TIM8_CH1.0=TIM8_CH1,PWM Generation1 CH1 CH1N
SH.S_TIM8_CH2.0=TIM8_CH2,PWM Generation2 CH2 CH2N
SH.S_TIM8_CH3.0=TIM8_CH3,PWM Generation3 CH3 CH3N
SH.SharedAnalog_PA1.0=ADC2_IN2,IN2-Single-Ended
SH.SharedAnalog_PA1.1=ADC1_IN2,IN2-Single-Ended
SPI1.BaudRatePrescaler=SPI_BAUDRATEPRESCALER_32
SPI1.CLKPhase=SPI_PHASE_2EDGE
SPI1.CalculateBaudRate=5.3125 MBits/s
SPI1.DataSize=SPI_DATASIZE_16BIT
SPI1.Direction=SPI_DIRECTION_2LINES
SPI1.Mode=SPI_MODE_MASTER
SPI1.VirtualType=VM_MASTER
TIM1.AutoReloadPreload=TIM_AUTORELOAD_PRELOAD_DISABLE
TIM1.AutomaticOutput=TIM_AUTOMATICOUTPUT_DISABLE
TIM1.Break2Filter=3
TIM1.Break2Polarity=TIM_BREAK2POLARITY_HIGH
TIM1.Break2State=TIM_BREAK2_DISABLE
TIM1.BreakFilter=0
TIM1.BreakPolarity=TIM_BREAKPOLARITY_HIGH
TIM1.BreakState=TIM_BREAK_DISABLE
TIM1.Channel=TIM_CHANNEL_4
TIM1.Channel-PWM\ Generation1\ CH1\ CH1N=TIM_CHANNEL_1
TIM1.Channel-PWM\ Generation2\ CH2\ CH2N=TIM_CHANNEL_2
TIM1.Channel-PWM\ Generation3\ CH3\ CH3N=TIM_CHANNEL_3
TIM1.Channel-PWM\ Generation4\ No\ Output=TIM_CHANNEL_4
TIM1.ClearInputSource=TIM_CLEARINPUTSOURCE_NONE
TIM1.ClockDivision=TIM_CLOCKDIVISION_DIV2
TIM1.CounterMode=TIM_COUNTERMODE_CENTERALIGNED1
TIM1.DeadTime=((DEAD_TIME_COUNTS) / 2)
TIM1.LockLevel=TIM_LOCKLEVEL_OFF
TIM1.OC1Preload_PWM=ENABLE
TIM1.OC2Preload_PWM=ENABLE
TIM1.OC3Preload_PWM=ENABLE
TIM1.OC4Preload_PWM=ENABLE
TIM1.OCFastMode_PWM=TIM_OCFAST_DISABLE
TIM1.OCIdleState_1=TIM_OCIDLESTATE_RESET
TIM1.OCIdleState_2=TIM_OCIDLESTATE_RESET
TIM1.OCIdleState_3=TIM_OCIDLESTATE_RESET
TIM1.OCIdleState_4=TIM_OCIDLESTATE_RESET
TIM1.OCMode_PWM-PWM\ Generation1\ CH1\ CH1N=TIM_OCMODE_PWM1
TIM1.OCMode_PWM-PWM\ Generation2\ CH2\ CH2N=TIM_OCMODE_PWM1
TIM1.OCMode_PWM-PWM\ Generation3\ CH3\ CH3N=TIM_OCMODE_PWM1
TIM1.OCMode_PWM-PWM\ Generation4\ No\ Output=TIM_OCMODE_PWM2
TIM1.OCNIdleState_1=TIM_OCNIDLESTATE_RESET
TIM1.OCNIdleState_2=TIM_OCNIDLESTATE_RESET
TIM1.OCNIdleState_3=TIM_OCNIDLESTATE_RESET
TIM1.OCNPolarity_1=TIM_OCNPOLARITY_HIGH
TIM1.OCNPolarity_2=TIM_OCNPOLARITY_HIGH
TIM1.OCNPolarity_3=TIM_OCNPOLARITY_HIGH
TIM1.OCPolarity_1=TIM_OCPOLARITY_HIGH
TIM1.OCPolarity_2=TIM_OCPOLARITY_HIGH
TIM1.OCPolarity_3=TIM_OCPOLARITY_HIGH
TIM1.OCPolarity_4=TIM_OCPOLARITY_HIGH
TIM1.OffStateIDLEMode=TIM_OSSI_ENABLE
TIM1.OffStateRunMode=TIM_OSSR_ENABLE
TIM1.PeriodNoDither=((PWM_PERIOD_CYCLES) / 2)
TIM1.Prescaler=((TIM_CLOCK_DIVIDER) - 1)
TIM1.PulseNoDither_1=((PWM_PERIOD_CYCLES) / 4)
TIM1.PulseNoDither_2=((PWM_PERIOD_CYCLES) / 4)
TIM1.PulseNoDither_3=((PWM_PERIOD_CYCLES) / 4)
TIM1.PulseNoDither_4=(((PWM_PERIOD_CYCLES) / 2) - (HTMIN))
TIM1.RepetitionCounter=(REP_COUNTER)
TIM1.SourceBRK2DigInput=TIM_BREAKINPUTSOURCE_DISABLE
TIM1.SourceBRKDigInput=TIM_BREAKINPUTSOURCE_DISABLE
TIM1.TIM_MasterOutputTrigger=TIM_TRGO_OC4REF
TIM1.TIM_MasterOutputTrigger2=TIM_TRGO2_RESET
TIM1.TIM_MasterSlaveMode=TIM_MASTERSLAVEMODE_DISABLE
TIM1.TIM_SlaveMode=TIM_SLAVEMODE_TRIGGER
TIM2.Channel-Input_Capture3_from_TI3=TIM_CHANNEL_3
TIM2.Channel-Input_Capture4_from_TI4=TIM_CHANNEL_4
TIM2.ICFilter_CH3=4
TIM2.ICFilter_CH4=4
TIM2.ICPolarity_CH3=TIM_INPUTCHANNELPOLARITY_BOTHEDGE
TIM2.ICPolarity_CH4=TIM_INPUTCHANNELPOLARITY_BOTHEDGE
TIM2.PeriodNoDither=4294967295
TIM2.Prescaler=169
TIM8.AutoReloadPreload=TIM_AUTORELOAD_PRELOAD_DISABLE
TIM8.AutomaticOutput=TIM_AUTOMATICOUTPUT_DISABLE
TIM8.Break2Filter=3
TIM8.Break2Polarity=TIM_BREAK2POLARITY_HIGH
TIM8.Break2State=TIM_BREAK2_DISABLE
TIM8.BreakFilter=0
TIM8.BreakPolarity=TIM_BREAKPOLARITY_HIGH
TIM8.BreakState=TIM_BREAK_DISABLE
TIM8.Channel=TIM_CHANNEL_4
TIM8.Channel-PWM\ Generation1\ CH1\ CH1N=TIM_CHANNEL_1
TIM8.Channel-PWM\ Generation2\ CH2\ CH2N=TIM_CHANNEL_2
TIM8.Channel-PWM\ Generation3\ CH3\ CH3N=TIM_CHANNEL_3
TIM8.Channel-PWM\ Generation4\ No\ Output=TIM_CHANNEL_4
TIM8.ClearInputSource=TIM_CLEARINPUTSOURCE_NONE
TIM8.ClockDivision=TIM_CLOCKDIVISION_DIV2
TIM8.CounterMode=TIM_COUNTERMODE_CENTERALIGNED1
TIM8.DeadTime=((DEAD_TIME_COUNTS2) / 2)
TIM8.LockLevel=TIM_LOCKLEVEL_OFF
TIM8.OC1Preload_PWM=ENABLE
TIM8.OC2Preload_PWM=ENABLE
TIM8.OC3Preload_PWM=ENABLE
TIM8.OC4Preload_PWM=ENABLE
TIM8.OCFastMode_PWM=TIM_OCFAST_DISABLE
TIM8.OCIdleState_1=TIM_OCIDLESTATE_RESET
TIM8.OCIdleState_2=TIM_OCIDLESTATE_RESET
TIM8.OCIdleState_3=TIM_OCIDLESTATE_RESET
TIM8.OCIdleState_4=TIM_OCIDLESTATE_RESET
TIM8.OCMode_PWM-PWM\ Generation1\ CH1\ CH1N=TIM_OCMODE_PWM1
TIM8.OCMode_PWM-PWM\ Generation2\ CH2\ CH2N=TIM_OCMODE_PWM1
TIM8.OCMode_PWM-PWM\ Generation3\ CH3\ CH3N=TIM_OCMODE_PWM1
TIM8.OCMode_PWM-PWM\ Generation4\ No\ Output=TIM_OCMODE_PWM2
TIM8.OCNIdleState_1=TIM_OCNIDLESTATE_RESET
TIM8.OCNIdleState_2=TIM_OCNIDLESTATE_RESET
TIM8.OCNIdleState_3=TIM_OCNIDLESTATE_RESET
TIM8.OCNPolarity_1=TIM_OCNPOLARITY_HIGH
TIM8.OCNPolarity_2=TIM_OCNPOLARITY_HIGH
TIM8.OCNPolarity_3=TIM_OCNPOLARITY_HIGH
TIM8.OCPolarity_1=TIM_OCPOLARITY_HIGH
TIM8.OCPolarity_2=TIM_OCPOLARITY_HIGH
TIM8.OCPolarity_3=TIM_OCPOLARITY_HIGH
TIM8.OCPolarity_4=TIM_OCPOLARITY_HIGH
TIM8.OffStateIDLEMode=TIM_OSSI_ENABLE
TIM8.OffStateRunMode=TIM_OSSR_ENABLE
TIM8.PeriodNoDither=((PWM_PERIOD_CYCLES2) / 2)
TIM8.Prescaler=((TIM_CLOCK_DIVIDER2) - 1)
TIM8.PulseNoDither_1=((PWM_PERIOD_CYCLES2) / 4)
TIM8.PulseNoDither_2=((PWM_PERIOD_CYCLES2) / 4)
TIM8.PulseNoDither_3=((PWM_PERIOD_CYCLES2) / 4)
TIM8.PulseNoDither_4=(((PWM_PERIOD_CYCLES2) / 2) - (HTMIN2))
TIM8.RepetitionCounter=(REP_COUNTER2)
TIM8.SourceBRK2DigInput=TIM_BREAKINPUTSOURCE_DISABLE
TIM8.SourceBRKDigInput=TIM_BREAKINPUTSOURCE_DISABLE
TIM8.TIM_MasterOutputTrigger=TIM_TRGO_OC4REF
TIM8.TIM_MasterOutputTrigger2=TIM_TRGO2_RESET
TIM8.TIM_MasterSlaveMode=TIM_MASTERSLAVEMODE_DISABLE
TIM8.TIM_SlaveMode=TIM_SLAVEMODE_TRIGGER
VP_CORDIC_VS_CORDIC.Mode=CORDIC_Activate
VP_MotorControl_MC_ENABLED.Mode=Enabled
VP_SYS_VS_DBSignals.Mode=DisableDeadBatterySignals
VP_TIM1_VS_no_output4.Mode=PWM Generation4 No Output
VP_TIM8_VS_no_output4.Mode=PWM Generation4 No Output
board=custom

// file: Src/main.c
/* USER CODE BEGIN Header */
/**
  ******************************************************************************
  * @file           : main.c
  * @brief          : Main program body
  ******************************************************************************
  * @attention
  *
  * Copyright (c) 2026 STMicroelectronics.
  * All rights reserved.
  *
  * This software is licensed under terms that can be found in the LICENSE file
  * in the root directory of this software component.
  * If no LICENSE file comes with this software, it is provided AS-IS.
  *
  ******************************************************************************
  */

/* Note from author: Right now we focus on PWM implementation, with DShot coming later
 * as the bidirectional mode will enable per motor telemetry.
 */
/* USER CODE END Header */
#include "main.h"
#include "adc.h"
#include "cordic.h"
#include "i2c.h"
#include "spi.h"
#include "tim.h"
#include "gpio.h"

/* USER CODE BEGIN PTD */
typedef struct {
	uint32_t rise;
	uint32_t fall;
	uint32_t period;
	uint32_t high_count;
	uint8_t rise_exists;
	uint8_t fall_exists;
} PWM_DecodingTypeDef;
/* USER CODE END PTD */

/* USER CODE BEGIN PD */
#define PWM_TIMER &htim2

#define PWM_1_PORT GPIOB
#define PWM_1_PIN	GPIO_PIN_10

#define PWM_2_PORT GPIOA
#define PWM_2_PIN	GPIO_PIN_3
/* USER CODE END PD */

/* USER CODE BEGIN PV */
volatile PWM_DecodingTypeDef PWM_1 = {0};
volatile PWM_DecodingTypeDef PWM_2 = {0};
/* USER CODE END PV */

void SystemClock_Config(void);
static void MX_NVIC_Init(void);

int main(void)
{

  /* MCU Configuration--------------------------------------------------------*/

  /* Reset of all peripherals, Initializes the Flash interface and the Systick. */
  HAL_Init();

  /* Configure the system clock */
  SystemClock_Config();

  /* Initialize all configured peripherals */
  MX_GPIO_Init();
  MX_ADC1_Init();
  MX_ADC2_Init();
  MX_CORDIC_Init();
  MX_TIM1_Init();
  MX_TIM8_Init();
  MX_MotorControl_Init();
  MX_I2C1_Init();
  MX_SPI1_Init();
  MX_TIM2_Init();

  /* Initialize interrupts */
  MX_NVIC_Init();
  /* USER CODE BEGIN 2 */
  HAL_TIM_IC_Start_IT(PWM_TIMER, TIM_CHANNEL_3);
  HAL_TIM_IC_Start_IT(PWM_TIMER, TIM_CHANNEL_4);
  /* USER CODE END 2 */

  /* Infinite loop */
  while (1)
  {

  }
}

void SystemClock_Config(void)
{
  RCC_OscInitTypeDef RCC_OscInitStruct = {0};
  RCC_ClkInitTypeDef RCC_ClkInitStruct = {0};

  /** Configure the main internal regulator output voltage
  */
  HAL_PWREx_ControlVoltageScaling(PWR_REGULATOR_VOLTAGE_SCALE1_BOOST);

  /** Initializes the RCC Oscillators according to the specified parameters
  * in the RCC_OscInitTypeDef structure.
  */
  RCC_OscInitStruct.OscillatorType = RCC_OSCILLATORTYPE_HSI;
  RCC_OscInitStruct.HSIState = RCC_HSI_ON;
  RCC_OscInitStruct.HSICalibrationValue = RCC_HSICALIBRATION_DEFAULT;
  RCC_OscInitStruct.PLL.PLLState = RCC_PLL_ON;
  RCC_OscInitStruct.PLL.PLLSource = RCC_PLLSOURCE_HSI;
  RCC_OscInitStruct.PLL.PLLM = RCC_PLLM_DIV4;
  RCC_OscInitStruct.PLL.PLLN = 85;
  RCC_OscInitStruct.PLL.PLLP = RCC_PLLP_DIV8;
  RCC_OscInitStruct.PLL.PLLQ = RCC_PLLQ_DIV2;
  RCC_OscInitStruct.PLL.PLLR = RCC_PLLR_DIV2;
  if (HAL_RCC_OscConfig(&RCC_OscInitStruct) != HAL_OK)
  {
    Error_Handler();
  }

  /** Initializes the CPU, AHB and APB buses clocks
  */
  RCC_ClkInitStruct.ClockType = RCC_CLOCKTYPE_HCLK|RCC_CLOCKTYPE_SYSCLK
                              |RCC_CLOCKTYPE_PCLK1|RCC_CLOCKTYPE_PCLK2;
  RCC_ClkInitStruct.SYSCLKSource = RCC_SYSCLKSOURCE_PLLCLK;
  RCC_ClkInitStruct.AHBCLKDivider = RCC_SYSCLK_DIV1;
  RCC_ClkInitStruct.APB1CLKDivider = RCC_HCLK_DIV1;
  RCC_ClkInitStruct.APB2CLKDivider = RCC_HCLK_DIV1;

  if (HAL_RCC_ClockConfig(&RCC_ClkInitStruct, FLASH_LATENCY_4) != HAL_OK)
  {
    Error_Handler();
  }
}

/**
  * @brief NVIC Configuration.
  * @retval None
  */
static void MX_NVIC_Init(void)
{
  /* TIM1_BRK_TIM15_IRQn interrupt configuration */
  HAL_NVIC_SetPriority(TIM1_BRK_TIM15_IRQn, 4, 1);
  HAL_NVIC_EnableIRQ(TIM1_BRK_TIM15_IRQn);
  /* TIM1_UP_TIM16_IRQn interrupt configuration */
  HAL_NVIC_SetPriority(TIM1_UP_TIM16_IRQn, 0, 0);
  HAL_NVIC_EnableIRQ(TIM1_UP_TIM16_IRQn);
  /* TIM8_BRK_IRQn interrupt configuration */
  HAL_NVIC_SetPriority(TIM8_BRK_IRQn, 4, 1);
  HAL_NVIC_EnableIRQ(TIM8_BRK_IRQn);
  /* TIM8_UP_IRQn interrupt configuration */
  HAL_NVIC_SetPriority(TIM8_UP_IRQn, 0, 0);
  HAL_NVIC_EnableIRQ(TIM8_UP_IRQn);
  /* ADC1_2_IRQn interrupt configuration */
  HAL_NVIC_SetPriority(ADC1_2_IRQn, 2, 0);
  HAL_NVIC_EnableIRQ(ADC1_2_IRQn);
}

/* USER CODE BEGIN 4 */
void HAL_TIM_IC_CaptureCallback(TIM_HandleTypeDef *htim){
	if(htim->Instance!=TIM2) return; // PWM signals are on TIM2
	uint8_t state;
	uint32_t new_rise;
	if(htim->Channel == HAL_TIM_ACTIVE_CHANNEL_3) { // PWM/DShot channel 1/3 (depending on which MCU it runs)
		state = HAL_GPIO_ReadPin(PWM_1_PORT,PWM_1_PIN);
		if(state){
			if (PWM_1.rise_exists){
				new_rise = htim->Instance->CCR3;
				PWM_1.period = new_rise - PWM_1.rise;
				PWM_1.rise = new_rise;
			} else if(!PWM_1.rise_exists){
				PWM_1.rise = htim->Instance->CCR3;
				PWM_1.rise_exists = 1;
			}
		} else {
			PWM_2.fall = htim->Instance->CCR3;
			if(PWM_1.fall_exists && PWM_1.rise_exists){
				PWM_1.high_count = PWM_2.fall - PWM_1.rise;
			} else if(!PWM_1.fall_exists){
				PWM_1.fall_exists = 1;
			}
		}
	} else if(htim->Channel == HAL_TIM_ACTIVE_CHANNEL_4) { // PWM/DShot channel 2/4 (depending on which MCU it runs)
		state = HAL_GPIO_ReadPin(PWM_2_PORT,PWM_2_PIN);
		if(state){
			if (PWM_2.rise_exists){
				new_rise = htim->Instance->CCR4;
				PWM_2.period = new_rise - PWM_2.rise;
				PWM_2.rise = new_rise;
			} else if(!PWM_2.rise_exists){
				PWM_2.rise = htim->Instance->CCR4;
				PWM_2.rise_exists = 1;
			}
		} else {
			PWM_2.fall = htim->Instance->CCR4;
			if(PWM_2.fall_exists && PWM_2.rise_exists){
				PWM_2.high_count = PWM_2.fall - PWM_2.rise;
			} else if(!PWM_2.fall_exists){
				PWM_2.fall_exists = 1;
			}
		}
	}
}
/* USER CODE END 4 */

void Error_Handler(void)
{
  __disable_irq();
  while (1)
  {
  }
}
